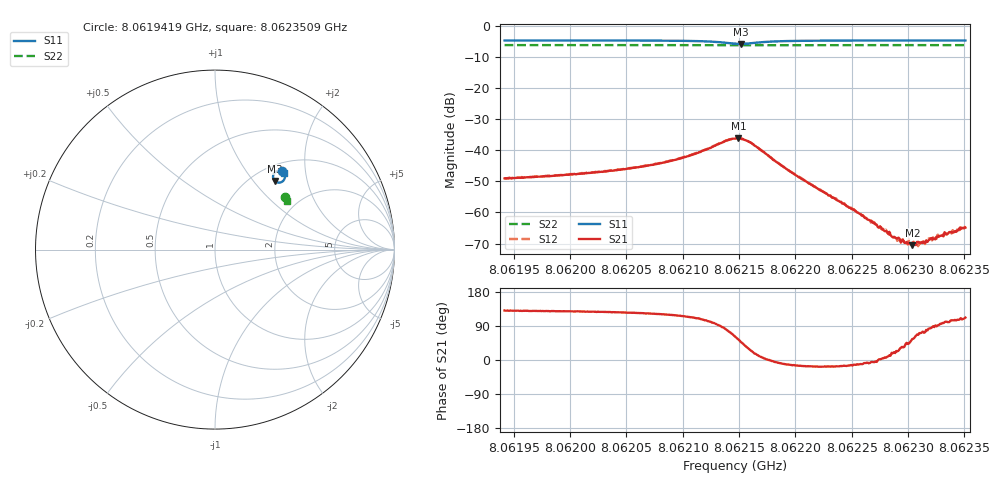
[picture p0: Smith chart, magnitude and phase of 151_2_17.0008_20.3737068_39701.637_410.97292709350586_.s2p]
#  HZ  S  RI  R  50.00
! Rohde & Schwarz Vector Network Analyzer
! Rohde-Schwarz,ZNB20-2Port,1311601062101988,3.16
! Created: UTC 3/20/2024, 10:58:51 PM
! freq[Hz]  re:S11  im:S11  re:S21  im:S21  re:S12  im:S12  re:S22  im:S22
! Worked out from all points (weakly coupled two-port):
!   401 points, 8.0619419 GHz to 8.0623509 GHz, reference 50 ohm
!   highest |S21| = -36.23 dB at 8.0621495 GHz (marker M1); lowest = -70.6 dB at 8.0623039 GHz (marker M2)
!   lowest |S11| = -5.9 dB at 8.0621515 GHz (marker M3), VSWR 3.06, Z = 63 + j64.8 ohm
!   |S11| at or under -10 dB: nowhere
!   |S22| runs from -6.3 to -6.3 dB; largest |S21 - S12| = 0.0011
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8.06194189e9  0.3726 0.4388  -0.0023 0.00267  -0.00211 0.00282  0.3875 0.2919
8.0620104e9  0.3784 0.433  -0.00257 0.00331  -0.0024 0.00355  0.3898 0.2883
8.06204618e9  0.382 0.4285  -0.00284 0.004  -0.00265 0.00421  0.3911 0.2865
8.0620789e9  0.3861 0.4218  -0.00315 0.00521  -0.00291 0.00542  0.3922 0.2847
8.06210651e9  0.3895 0.41  -0.00323 0.00754  -0.00278 0.0078  0.393 0.2829
8.06213923e9  0.3687 0.3756  0.00275 0.0141  0.00359 0.0139  0.3926 0.2801
8.06214639e9  0.3486 0.3741  0.00719 0.0135  0.00823 0.0132  0.3919 0.2801
8.06214946e9  0.3395 0.3778  0.00911 0.0125  0.01 0.0119  0.3916 0.2802
8.0621515e9  0.3338 0.382  0.0103 0.0113  0.0111 0.0108  0.3917 0.2804
8.0621607e9  0.3232 0.4077  0.012 0.00542  0.0123 0.00461  0.3917 0.2812
8.06219138e9  0.3515 0.4393  0.00499 -0.000988  0.005 -0.00129  0.3945 0.2808
8.0622149e9  0.3636 0.439  0.0026 -0.000796  0.0026 -0.000968  0.3957 0.2795
8.06225171e9  0.3729 0.4359  0.00107 -0.000239  0.00108 -0.00035  0.3972 0.2775
8.0622834e9  0.3777 0.4332  0.000478 0.000105  0.00043 7.71e-05  0.3984 0.2759
8.06229158e9  0.3787 0.4326  0.000357 0.000164  0.000348 0.000166  0.3986 0.2754
8.06229874e9  0.3794 0.4321  0.000236 0.000239  0.000274 0.00019  0.3989 0.2751
8.06230386e9  0.3801 0.4316  0.000167 0.000244  0.000182 0.000273  0.3992 0.2748
8.06231306e9  0.381 0.4309  8.2e-05 0.000312  0.000116 0.000321  0.3993 0.2743
8.06231817e9  0.3816 0.4306  4.52e-05 0.000355  6.63e-05 0.000374  0.3996 0.274
8.06232328e9  0.382 0.4302  2.09e-05 0.000377  5.12e-05 0.000361  0.3997 0.2738
8.0623284e9  0.3825 0.43  -3.84e-05 0.000416  8.98e-07 0.000439  0.3999 0.2736
8.06235089e9  0.3845 0.4285  -0.000213 0.000529  -0.000159 0.000579  0.4007 0.2724
